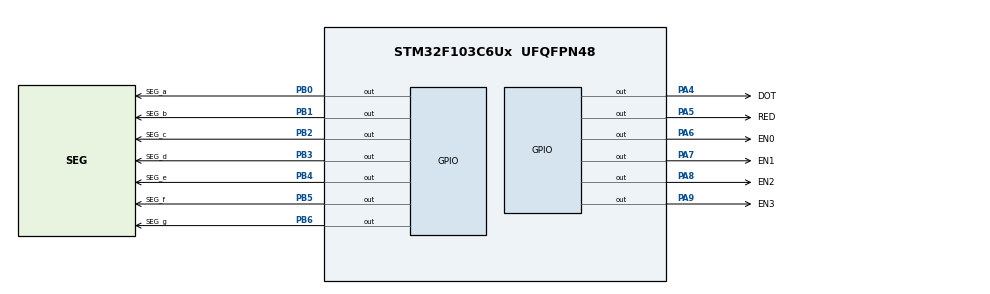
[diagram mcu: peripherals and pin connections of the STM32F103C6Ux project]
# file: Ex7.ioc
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Mcu.Family=STM32F1
Mcu.Name=STM32F103C6Ux
Mcu.Package=UFQFPN48
NVIC.PriorityGroup=NVIC_PRIORITYGROUP_4
NVIC.TIM2_IRQn=true\:0\:0\:false\:false\:true\:true\:true
PA4.GPIO_Label=DOT
PA4.Signal=GPIO_Output
PA5.GPIO_Label=RED
PA5.Signal=GPIO_Output
PA6.GPIO_Label=EN0
PA6.Signal=GPIO_Output
PA7.GPIO_Label=EN1
PA7.Signal=GPIO_Output
PA8.GPIO_Label=EN2
PA8.Signal=GPIO_Output
PA9.GPIO_Label=EN3
PA9.Signal=GPIO_Output
PB0.GPIO_Label=SEG_a
PB0.Signal=GPIO_Output
PB1.GPIO_Label=SEG_b
PB1.Signal=GPIO_Output
PB2.GPIO_Label=SEG_c
PB2.Signal=GPIO_Output
PB3.GPIO_Label=SEG_d
PB3.Signal=GPIO_Output
PB4.GPIO_Label=SEG_e
PB4.Signal=GPIO_Output
PB5.GPIO_Label=SEG_f
PB5.Signal=GPIO_Output
PB6.GPIO_Label=SEG_g
PB6.Signal=GPIO_Output
ProjectManager.HeapSize=0x200
ProjectManager.StackSize=0x400
ProjectManager.TargetToolchain=STM32CubeIDE
RCC.APB1Freq_Value=8000000
RCC.APB2Freq_Value=8000000
TIM2.Period=9
TIM2.Prescaler=7999
VP_SYS_VS_ND.Mode=No_Debug
VP_TIM2_VS_ClockSourceINT.Mode=Internal
board=custom

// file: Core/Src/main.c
/* USER CODE BEGIN Header */
/**
  ******************************************************************************
  * @file           : main.c
  * @brief          : Main program body
  ******************************************************************************
  * @attention
  *
  * <h2><center>&copy; Copyright (c) 2022 STMicroelectronics.
  * All rights reserved.</center></h2>
  *
  * This software component is licensed by ST under BSD 3-Clause license,
  * the "License"; You may not use this file except in compliance with the
  * License. You may obtain a copy of the License at:
  *                        opensource.org/licenses/BSD-3-Clause
  *
  ******************************************************************************
  */
/* USER CODE END Header */
#include "main.h"

TIM_HandleTypeDef htim2;

void SystemClock_Config(void);
static void MX_GPIO_Init(void);
static void MX_TIM2_Init(void);

/* USER CODE BEGIN 0 */
void display7SEG(int num){
	  if(num == 0){
		  HAL_GPIO_WritePin(SEG_a_GPIO_Port, SEG_a_Pin, RESET);
		  HAL_GPIO_WritePin(SEG_b_GPIO_Port, SEG_b_Pin, RESET);
		  HAL_GPIO_WritePin(SEG_c_GPIO_Port, SEG_c_Pin, RESET);
		  HAL_GPIO_WritePin(SEG_d_GPIO_Port, SEG_d_Pin, RESET);
		  HAL_GPIO_WritePin(SEG_e_GPIO_Port, SEG_e_Pin, RESET);
		  HAL_GPIO_WritePin(SEG_f_GPIO_Port, SEG_f_Pin, RESET);
		  HAL_GPIO_WritePin(SEG_g_GPIO_Port, SEG_g_Pin, SET);
	  }
	  if(num == 1){
		  HAL_GPIO_WritePin(SEG_a_GPIO_Port, SEG_a_Pin, SET);
		  HAL_GPIO_WritePin(SEG_b_GPIO_Port, SEG_b_Pin, RESET);
		  HAL_GPIO_WritePin(SEG_c_GPIO_Port, SEG_c_Pin, RESET);
		  HAL_GPIO_WritePin(SEG_d_GPIO_Port, SEG_d_Pin, SET);
		  HAL_GPIO_WritePin(SEG_e_GPIO_Port, SEG_e_Pin, SET);
		  HAL_GPIO_WritePin(SEG_f_GPIO_Port, SEG_f_Pin, SET);
		  HAL_GPIO_WritePin(SEG_g_GPIO_Port, SEG_g_Pin, SET);
	  }
	  if(num == 2){
		  HAL_GPIO_WritePin(SEG_a_GPIO_Port, SEG_a_Pin, RESET);
		  HAL_GPIO_WritePin(SEG_b_GPIO_Port, SEG_b_Pin, RESET);
		  HAL_GPIO_WritePin(SEG_c_GPIO_Port, SEG_c_Pin, SET);
		  HAL_GPIO_WritePin(SEG_d_GPIO_Port, SEG_d_Pin, RESET);
		  HAL_GPIO_WritePin(SEG_e_GPIO_Port, SEG_e_Pin, RESET);
		  HAL_GPIO_WritePin(SEG_f_GPIO_Port, SEG_f_Pin, SET);
		  HAL_GPIO_WritePin(SEG_g_GPIO_Port, SEG_g_Pin, RESET);
	  }
	  if(num == 3){
		  HAL_GPIO_WritePin(SEG_a_GPIO_Port, SEG_a_Pin, RESET);
		  HAL_GPIO_WritePin(SEG_b_GPIO_Port, SEG_b_Pin, RESET);
		  HAL_GPIO_WritePin(SEG_c_GPIO_Port, SEG_c_Pin, RESET);
		  HAL_GPIO_WritePin(SEG_d_GPIO_Port, SEG_d_Pin, RESET);
		  HAL_GPIO_WritePin(SEG_e_GPIO_Port, SEG_e_Pin, SET);
		  HAL_GPIO_WritePin(SEG_f_GPIO_Port, SEG_f_Pin, SET);
		  HAL_GPIO_WritePin(SEG_g_GPIO_Port, SEG_g_Pin, RESET);
	  }
	  if(num == 4){
		  HAL_GPIO_WritePin(SEG_a_GPIO_Port, SEG_a_Pin, SET);
		  HAL_GPIO_WritePin(SEG_b_GPIO_Port, SEG_b_Pin, RESET);
		  HAL_GPIO_WritePin(SEG_c_GPIO_Port, SEG_c_Pin, RESET);
		  HAL_GPIO_WritePin(SEG_d_GPIO_Port, SEG_d_Pin, SET);
		  HAL_GPIO_WritePin(SEG_e_GPIO_Port, SEG_e_Pin, SET);
		  HAL_GPIO_WritePin(SEG_f_GPIO_Port, SEG_f_Pin, RESET);
		  HAL_GPIO_WritePin(SEG_g_GPIO_Port, SEG_g_Pin, RESET);
	  }
	  if(num == 5){
		  HAL_GPIO_WritePin(SEG_a_GPIO_Port, SEG_a_Pin, RESET);
		  HAL_GPIO_WritePin(SEG_b_GPIO_Port, SEG_b_Pin, SET);
		  HAL_GPIO_WritePin(SEG_c_GPIO_Port, SEG_c_Pin, RESET);
		  HAL_GPIO_WritePin(SEG_d_GPIO_Port, SEG_d_Pin, RESET);
		  HAL_GPIO_WritePin(SEG_e_GPIO_Port, SEG_e_Pin, SET);
		  HAL_GPIO_WritePin(SEG_f_GPIO_Port, SEG_f_Pin, RESET);
		  HAL_GPIO_WritePin(SEG_g_GPIO_Port, SEG_g_Pin, RESET);
	  }
	  if(num == 6){
		  HAL_GPIO_WritePin(SEG_a_GPIO_Port, SEG_a_Pin, RESET);
		  HAL_GPIO_WritePin(SEG_b_GPIO_Port, SEG_b_Pin, SET);
		  HAL_GPIO_WritePin(SEG_c_GPIO_Port, SEG_c_Pin, RESET);
		  HAL_GPIO_WritePin(SEG_d_GPIO_Port, SEG_d_Pin, RESET);
		  HAL_GPIO_WritePin(SEG_e_GPIO_Port, SEG_e_Pin, RESET);
		  HAL_GPIO_WritePin(SEG_f_GPIO_Port, SEG_f_Pin, RESET);
		  HAL_GPIO_WritePin(SEG_g_GPIO_Port, SEG_g_Pin, RESET);
	  }
	  if(num == 7){
		  HAL_GPIO_WritePin(SEG_a_GPIO_Port, SEG_a_Pin, RESET);
		  HAL_GPIO_WritePin(SEG_b_GPIO_Port, SEG_b_Pin, RESET);
		  HAL_GPIO_WritePin(SEG_c_GPIO_Port, SEG_c_Pin, RESET);
		  HAL_GPIO_WritePin(SEG_d_GPIO_Port, SEG_d_Pin, SET);
		  HAL_GPIO_WritePin(SEG_e_GPIO_Port, SEG_e_Pin, SET);
		  HAL_GPIO_WritePin(SEG_f_GPIO_Port, SEG_f_Pin, SET);
		  HAL_GPIO_WritePin(SEG_g_GPIO_Port, SEG_g_Pin, SET);
	  }
	  if(num == 8){
		  HAL_GPIO_WritePin(SEG_a_GPIO_Port, SEG_a_Pin, RESET);
		  HAL_GPIO_WritePin(SEG_b_GPIO_Port, SEG_b_Pin, RESET);
		  HAL_GPIO_WritePin(SEG_c_GPIO_Port, SEG_c_Pin, RESET);
		  HAL_GPIO_WritePin(SEG_d_GPIO_Port, SEG_d_Pin, RESET);
		  HAL_GPIO_WritePin(SEG_e_GPIO_Port, SEG_e_Pin, RESET);
		  HAL_GPIO_WritePin(SEG_f_GPIO_Port, SEG_f_Pin, RESET);
		  HAL_GPIO_WritePin(SEG_g_GPIO_Port, SEG_g_Pin, RESET);
	  }
	  if(num == 9){
		  HAL_GPIO_WritePin(SEG_a_GPIO_Port, SEG_a_Pin, RESET);
		  HAL_GPIO_WritePin(SEG_b_GPIO_Port, SEG_b_Pin, RESET);
		  HAL_GPIO_WritePin(SEG_c_GPIO_Port, SEG_c_Pin, RESET);
		  HAL_GPIO_WritePin(SEG_d_GPIO_Port, SEG_d_Pin, RESET);
		  HAL_GPIO_WritePin(SEG_e_GPIO_Port, SEG_e_Pin, SET);
		  HAL_GPIO_WritePin(SEG_f_GPIO_Port, SEG_f_Pin, RESET);
		  HAL_GPIO_WritePin(SEG_g_GPIO_Port, SEG_g_Pin, RESET);
	  }
}
const int MAX_LED = 4;
int index_led = 0;
int led_buffer [4] = {1 , 2 , 3 , 4};
void update7SEG(int index){
	index = index % MAX_LED;
	switch(index){
	case 0:
		HAL_GPIO_WritePin(EN1_GPIO_Port, EN1_Pin, SET);
		HAL_GPIO_WritePin(EN2_GPIO_Port, EN2_Pin, SET);
		HAL_GPIO_WritePin(EN3_GPIO_Port, EN3_Pin, SET);
		display7SEG(led_buffer[0]);
		HAL_GPIO_WritePin(EN0_GPIO_Port, EN0_Pin, RESET);
		break;
	case 1:
		HAL_GPIO_WritePin(EN0_GPIO_Port, EN0_Pin, SET);
		HAL_GPIO_WritePin(EN2_GPIO_Port, EN2_Pin, SET);
		HAL_GPIO_WritePin(EN3_GPIO_Port, EN3_Pin, SET);
		display7SEG(led_buffer[1]);
		HAL_GPIO_WritePin(EN1_GPIO_Port, EN1_Pin, RESET);
		break;
	case 2:
		HAL_GPIO_WritePin(EN0_GPIO_Port, EN0_Pin, SET);
		HAL_GPIO_WritePin(EN1_GPIO_Port, EN1_Pin, SET);
		HAL_GPIO_WritePin(EN3_GPIO_Port, EN3_Pin, SET);
		display7SEG(led_buffer[2]);
		HAL_GPIO_WritePin(EN2_GPIO_Port, EN2_Pin, RESET);
		break;
	case 3:
		HAL_GPIO_WritePin(EN0_GPIO_Port, EN0_Pin, SET);
		HAL_GPIO_WritePin(EN1_GPIO_Port, EN1_Pin, SET);
		HAL_GPIO_WritePin(EN2_GPIO_Port, EN2_Pin, SET);
		display7SEG(led_buffer[3]);
		HAL_GPIO_WritePin(EN3_GPIO_Port, EN3_Pin, RESET);
		break;
	default:
		index = 0;
		break;
	}
}
void updateClockBuffer(int hour, int minute, int* led_buffer){
	led_buffer[0] = hour / 10;
	led_buffer[1] = hour % 10;
	led_buffer[2] = minute / 10;
	led_buffer[3] = minute % 10;
}

int timer0_counter = 0;
int timer0_flag = 0;
int timer1_counter = 0;
int timer1_flag = 0;

int TIMER_CYCLE = 10;
void setTimer0(int duration){
	timer0_counter = duration / TIMER_CYCLE;
	timer0_flag = 0;
}
void setTimer1(int duration){
	timer1_counter = duration / TIMER_CYCLE;
	timer1_flag = 0;
}
void timerRun(){
	if(timer0_counter > 0){
		timer0_counter--;
		if(timer0_counter == 0){
			timer0_flag = 1;
		}
	}
	if(timer1_counter > 0){
		timer1_counter--;
		if(timer1_counter == 0){
			timer1_flag = 1;
		}
	}
}
/* USER CODE END 0 */

int main(void)
{

  /* MCU Configuration--------------------------------------------------------*/

  /* Reset of all peripherals, Initializes the Flash interface and the Systick. */
  HAL_Init();

  /* Configure the system clock */
  SystemClock_Config();

  /* Initialize all configured peripherals */
  MX_GPIO_Init();
  MX_TIM2_Init();
  /* USER CODE BEGIN 2 */
  HAL_TIM_Base_Start_IT(&htim2);
  /* USER CODE END 2 */

  /* Infinite loop */
  /* USER CODE BEGIN WHILE */
  int hour = 15, minute = 18, second = 50;
  setTimer0(1000);
  setTimer1(250);
  while (1)
  {
	  /*Timer 0 for calulation second and toggle led every second */
	  if(timer0_flag == 1){
		  second++;
		  if(second >= 60){
			  second = 0;
			  minute++;
		  }
		  if(minute >= 60){
			  minute = 0;
			  hour++;
		  }
		  if(hour >= 24){
			  hour = 0;
		  }
		  updateClockBuffer(hour, minute, led_buffer);
		  HAL_GPIO_TogglePin(DOT_GPIO_Port, DOT_Pin);
		  HAL_GPIO_TogglePin(RED_GPIO_Port, RED_Pin);
		  setTimer0(1000);
	  }
	  /*Timer 1 for Calculating Enable 7-Segment Led to display every 250ms*/
	  if(timer1_flag == 1){
		  index_led++;
		  update7SEG(index_led);
		  setTimer1(250);
	  }

    /* USER CODE END WHILE */

  }
}

void SystemClock_Config(void)
{
  RCC_OscInitTypeDef RCC_OscInitStruct = {0};
  RCC_ClkInitTypeDef RCC_ClkInitStruct = {0};

  /** Initializes the RCC Oscillators according to the specified parameters
  * in the RCC_OscInitTypeDef structure.
  */
  RCC_OscInitStruct.OscillatorType = RCC_OSCILLATORTYPE_HSI;
  RCC_OscInitStruct.HSIState = RCC_HSI_ON;
  RCC_OscInitStruct.HSICalibrationValue = RCC_HSICALIBRATION_DEFAULT;
  RCC_OscInitStruct.PLL.PLLState = RCC_PLL_NONE;
  if (HAL_RCC_OscConfig(&RCC_OscInitStruct) != HAL_OK)
  {
    Error_Handler();
  }
  /** Initializes the CPU, AHB and APB buses clocks
  */
  RCC_ClkInitStruct.ClockType = RCC_CLOCKTYPE_HCLK|RCC_CLOCKTYPE_SYSCLK
                              |RCC_CLOCKTYPE_PCLK1|RCC_CLOCKTYPE_PCLK2;
  RCC_ClkInitStruct.SYSCLKSource = RCC_SYSCLKSOURCE_HSI;
  RCC_ClkInitStruct.AHBCLKDivider = RCC_SYSCLK_DIV1;
  RCC_ClkInitStruct.APB1CLKDivider = RCC_HCLK_DIV1;
  RCC_ClkInitStruct.APB2CLKDivider = RCC_HCLK_DIV1;

  if (HAL_RCC_ClockConfig(&RCC_ClkInitStruct, FLASH_LATENCY_0) != HAL_OK)
  {
    Error_Handler();
  }
}

static void MX_TIM2_Init(void)
{

  TIM_ClockConfigTypeDef sClockSourceConfig = {0};
  TIM_MasterConfigTypeDef sMasterConfig = {0};

  htim2.Instance = TIM2;
  htim2.Init.Prescaler = 7999;
  htim2.Init.CounterMode = TIM_COUNTERMODE_UP;
  htim2.Init.Period = 9;
  htim2.Init.ClockDivision = TIM_CLOCKDIVISION_DIV1;
  htim2.Init.AutoReloadPreload = TIM_AUTORELOAD_PRELOAD_DISABLE;
  if (HAL_TIM_Base_Init(&htim2) != HAL_OK)
  {
    Error_Handler();
  }
  sClockSourceConfig.ClockSource = TIM_CLOCKSOURCE_INTERNAL;
  if (HAL_TIM_ConfigClockSource(&htim2, &sClockSourceConfig) != HAL_OK)
  {
    Error_Handler();
  }
  sMasterConfig.MasterOutputTrigger = TIM_TRGO_RESET;
  sMasterConfig.MasterSlaveMode = TIM_MASTERSLAVEMODE_DISABLE;
  if (HAL_TIMEx_MasterConfigSynchronization(&htim2, &sMasterConfig) != HAL_OK)
  {
    Error_Handler();
  }

}

static void MX_GPIO_Init(void)
{
  GPIO_InitTypeDef GPIO_InitStruct = {0};

  /* GPIO Ports Clock Enable */
  __HAL_RCC_GPIOA_CLK_ENABLE();
  __HAL_RCC_GPIOB_CLK_ENABLE();

  /*Configure GPIO pin Output Level */
  HAL_GPIO_WritePin(GPIOA, DOT_Pin|RED_Pin|EN0_Pin|EN1_Pin
                          |EN2_Pin|EN3_Pin, GPIO_PIN_RESET);

  /*Configure GPIO pin Output Level */
  HAL_GPIO_WritePin(GPIOB, SEG_a_Pin|SEG_b_Pin|SEG_c_Pin|SEG_d_Pin
                          |SEG_e_Pin|SEG_f_Pin|SEG_g_Pin, GPIO_PIN_RESET);

  /*Configure GPIO pins : DOT_Pin RED_Pin EN0_Pin EN1_Pin
                           EN2_Pin EN3_Pin */
  GPIO_InitStruct.Pin = DOT_Pin|RED_Pin|EN0_Pin|EN1_Pin
                          |EN2_Pin|EN3_Pin;
  GPIO_InitStruct.Mode = GPIO_MODE_OUTPUT_PP;
  GPIO_InitStruct.Pull = GPIO_NOPULL;
  GPIO_InitStruct.Speed = GPIO_SPEED_FREQ_LOW;
  HAL_GPIO_Init(GPIOA, &GPIO_InitStruct);

  /*Configure GPIO pins : SEG_a_Pin SEG_b_Pin SEG_c_Pin SEG_d_Pin
                           SEG_e_Pin SEG_f_Pin SEG_g_Pin */
  GPIO_InitStruct.Pin = SEG_a_Pin|SEG_b_Pin|SEG_c_Pin|SEG_d_Pin
                          |SEG_e_Pin|SEG_f_Pin|SEG_g_Pin;
  GPIO_InitStruct.Mode = GPIO_MODE_OUTPUT_PP;
  GPIO_InitStruct.Pull = GPIO_NOPULL;
  GPIO_InitStruct.Speed = GPIO_SPEED_FREQ_LOW;
  HAL_GPIO_Init(GPIOB, &GPIO_InitStruct);

}

/* USER CODE BEGIN 4 */
void HAL_TIM_PeriodElapsedCallback(TIM_HandleTypeDef * htim){
	timerRun();
}
/* USER CODE END 4 */

void Error_Handler(void)
{
  __disable_irq();
  while (1)
  {
  }
}

/************************ (C) COPYRIGHT STMicroelectronics *****END OF FILE****/
